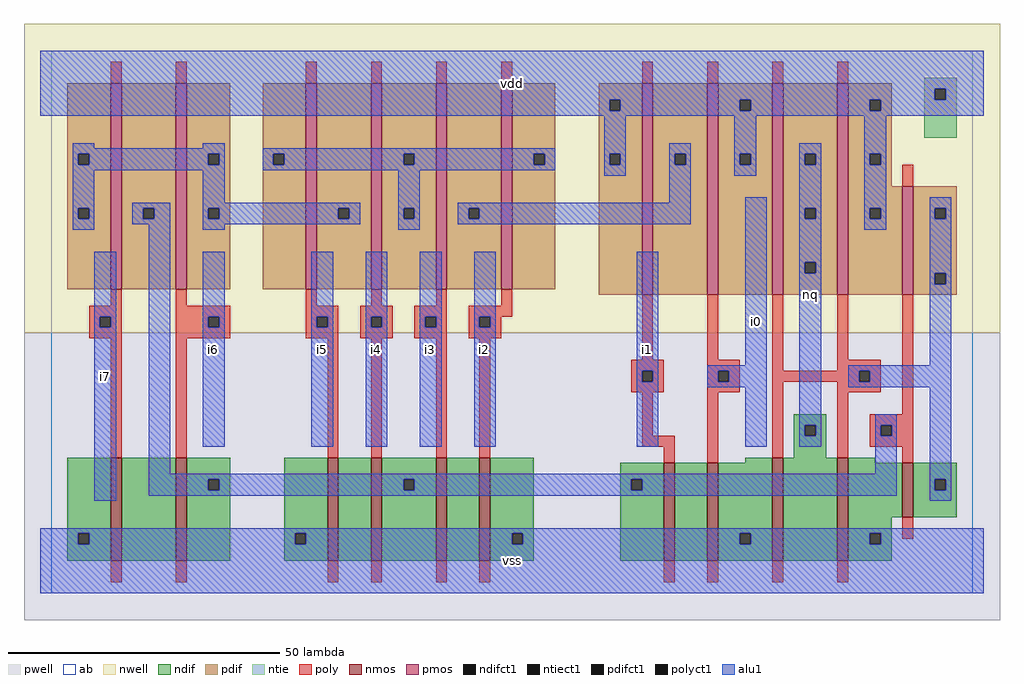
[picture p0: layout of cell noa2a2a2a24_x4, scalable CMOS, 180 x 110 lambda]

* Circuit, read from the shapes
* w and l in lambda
.subckt noa2a2a2a24_x4 i0 i1 i2 i3 i4 i5 i6 i7 nq vdd vss
M1 n1 i7 vss VSUBS nfet w=19 l=2
M2 n2 i6 n1 VSUBS nfet w=19 l=2
M3 n3 i5 vss VSUBS nfet w=19 l=2
M4 n2 i4 n3 VSUBS nfet w=19 l=2
M5 n4 i3 n2 VSUBS nfet w=19 l=2
M6 vss i2 n4 VSUBS nfet w=19 l=2
M7 n5 i1 n2 VSUBS nfet w=18 l=2
M8 vss i0 n5 VSUBS nfet w=18 l=2
M9 nq n6 vss VSUBS nfet w=19 l=2 m=2
M10 n6 n2 vss VSUBS nfet w=10 l=2
M11 n2 i7 n7 vdd pfet w=38 l=2
M12 n7 i6 n2 vdd pfet w=38 l=2
M13 n7 i5 n8 vdd pfet w=38 l=2
M14 n8 i4 n7 vdd pfet w=38 l=2
M15 n9 i3 n8 vdd pfet w=38 l=2
M16 n8 i2 n9 vdd pfet w=38 l=2
M17 n9 i1 vdd vdd pfet w=39 l=2
M18 vdd i0 n9 vdd pfet w=39 l=2
M19 nq n6 vdd vdd pfet w=39 l=2 m=2
M20 n6 n2 vdd vdd pfet w=20 l=2
.ends

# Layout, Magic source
magic
tech scmos
<< ab >>
rect 0 0 170 100
<< nwell >>
rect -5 48 175 105
<< pwell >>
rect -5 -5 175 48
<< poly >>
rect 11 94 13 98
rect 23 94 25 98
rect 47 94 49 98
rect 59 94 61 98
rect 71 94 73 98
rect 83 94 85 98
rect 109 94 111 98
rect 121 94 123 98
rect 133 94 135 98
rect 145 94 147 98
rect 11 53 13 56
rect 7 51 13 53
rect 7 49 9 51
rect 11 49 13 51
rect 7 47 13 49
rect 11 25 13 47
rect 23 53 25 56
rect 47 53 49 56
rect 59 53 61 56
rect 71 53 73 56
rect 83 53 85 56
rect 157 75 159 79
rect 23 51 33 53
rect 23 49 29 51
rect 31 49 33 51
rect 23 47 33 49
rect 47 51 53 53
rect 47 49 49 51
rect 51 49 53 51
rect 47 47 53 49
rect 57 51 63 53
rect 57 49 59 51
rect 61 49 63 51
rect 57 47 63 49
rect 67 51 73 53
rect 67 49 69 51
rect 71 49 73 51
rect 67 47 73 49
rect 77 51 85 53
rect 77 49 79 51
rect 81 49 83 51
rect 77 47 83 49
rect 23 25 25 47
rect 51 25 53 47
rect 59 25 61 47
rect 71 25 73 47
rect 79 25 81 47
rect 109 43 111 55
rect 121 43 123 55
rect 107 41 113 43
rect 107 39 109 41
rect 111 39 113 41
rect 107 37 113 39
rect 121 41 127 43
rect 121 39 123 41
rect 125 39 127 41
rect 121 37 127 39
rect 133 41 135 55
rect 145 43 147 55
rect 145 41 153 43
rect 133 39 149 41
rect 151 39 153 41
rect 109 29 111 37
rect 109 27 115 29
rect 113 24 115 27
rect 121 24 123 37
rect 133 25 135 39
rect 145 37 153 39
rect 145 25 147 37
rect 157 33 159 55
rect 151 31 159 33
rect 151 29 153 31
rect 155 29 159 31
rect 151 27 159 29
rect 157 24 159 27
rect 157 10 159 14
rect 11 2 13 6
rect 23 2 25 6
rect 51 2 53 6
rect 59 2 61 6
rect 71 2 73 6
rect 79 2 81 6
rect 113 2 115 6
rect 121 2 123 6
rect 133 2 135 6
rect 145 2 147 6
<< ndif >>
rect 3 11 11 25
rect 3 9 5 11
rect 7 9 11 11
rect 3 6 11 9
rect 13 6 23 25
rect 25 21 33 25
rect 25 19 29 21
rect 31 19 33 21
rect 25 6 33 19
rect 43 11 51 25
rect 43 9 45 11
rect 47 9 51 11
rect 43 6 51 9
rect 53 6 59 25
rect 61 21 71 25
rect 61 19 65 21
rect 67 19 71 21
rect 61 6 71 19
rect 73 6 79 25
rect 81 11 89 25
rect 137 31 143 33
rect 137 29 139 31
rect 141 29 143 31
rect 137 25 143 29
rect 128 24 133 25
rect 81 9 85 11
rect 87 9 89 11
rect 81 6 89 9
rect 105 21 113 24
rect 105 19 107 21
rect 109 19 113 21
rect 105 6 113 19
rect 115 6 121 24
rect 123 11 133 24
rect 123 9 127 11
rect 129 9 133 11
rect 123 6 133 9
rect 135 6 145 25
rect 147 24 152 25
rect 147 14 157 24
rect 159 21 167 24
rect 159 19 163 21
rect 165 19 167 21
rect 159 14 167 19
rect 147 11 155 14
rect 147 9 151 11
rect 153 9 155 11
rect 147 6 155 9
<< pdif >>
rect 3 81 11 94
rect 3 79 5 81
rect 7 79 11 81
rect 3 71 11 79
rect 3 69 5 71
rect 7 69 11 71
rect 3 56 11 69
rect 13 71 23 94
rect 13 69 17 71
rect 19 69 23 71
rect 13 56 23 69
rect 25 81 33 94
rect 25 79 29 81
rect 31 79 33 81
rect 25 71 33 79
rect 25 69 29 71
rect 31 69 33 71
rect 25 56 33 69
rect 39 81 47 94
rect 39 79 41 81
rect 43 79 47 81
rect 39 56 47 79
rect 49 71 59 94
rect 49 69 53 71
rect 55 69 59 71
rect 49 56 59 69
rect 61 81 71 94
rect 61 79 65 81
rect 67 79 71 81
rect 61 71 71 79
rect 61 69 65 71
rect 67 69 71 71
rect 61 56 71 69
rect 73 71 83 94
rect 73 69 77 71
rect 79 69 83 71
rect 73 56 83 69
rect 85 81 93 94
rect 85 79 89 81
rect 91 79 93 81
rect 85 56 93 79
rect 101 91 109 94
rect 101 89 103 91
rect 105 89 109 91
rect 101 81 109 89
rect 101 79 103 81
rect 105 79 109 81
rect 101 55 109 79
rect 111 81 121 94
rect 111 79 115 81
rect 117 79 121 81
rect 111 55 121 79
rect 123 91 133 94
rect 123 89 127 91
rect 129 89 133 91
rect 123 81 133 89
rect 123 79 127 81
rect 129 79 133 81
rect 123 55 133 79
rect 135 81 145 94
rect 135 79 139 81
rect 141 79 145 81
rect 135 71 145 79
rect 135 69 139 71
rect 141 69 145 71
rect 135 61 145 69
rect 135 59 139 61
rect 141 59 145 61
rect 135 55 145 59
rect 147 91 155 94
rect 147 89 151 91
rect 153 89 155 91
rect 147 81 155 89
rect 147 79 151 81
rect 153 79 155 81
rect 147 75 155 79
rect 147 71 157 75
rect 147 69 151 71
rect 153 69 157 71
rect 147 55 157 69
rect 159 71 167 75
rect 159 69 163 71
rect 165 69 167 71
rect 159 59 167 69
rect 159 57 163 59
rect 165 57 167 59
rect 159 55 167 57
<< alu1 >>
rect -2 93 172 100
rect -2 91 163 93
rect 165 91 172 93
rect -2 89 103 91
rect 105 89 127 91
rect 129 89 151 91
rect 153 89 172 91
rect -2 88 172 89
rect 4 82 8 83
rect 28 82 32 83
rect 4 81 32 82
rect 4 79 5 81
rect 7 79 29 81
rect 31 79 32 81
rect 4 78 32 79
rect 39 81 93 82
rect 39 79 41 81
rect 43 79 65 81
rect 67 79 89 81
rect 91 79 93 81
rect 39 78 93 79
rect 102 81 106 88
rect 102 79 103 81
rect 105 79 106 81
rect 4 71 8 78
rect 28 72 32 78
rect 4 69 5 71
rect 7 69 8 71
rect 4 67 8 69
rect 15 71 22 72
rect 15 69 17 71
rect 19 69 22 71
rect 15 68 22 69
rect 8 51 12 63
rect 8 49 9 51
rect 11 49 12 51
rect 8 17 12 49
rect 18 22 22 68
rect 28 71 57 72
rect 28 69 29 71
rect 31 69 53 71
rect 55 69 57 71
rect 28 68 57 69
rect 64 71 68 78
rect 102 77 106 79
rect 114 81 118 83
rect 114 79 115 81
rect 117 79 118 81
rect 114 72 118 79
rect 126 81 130 88
rect 126 79 127 81
rect 129 79 130 81
rect 126 77 130 79
rect 138 81 142 83
rect 138 79 139 81
rect 141 79 142 81
rect 64 69 65 71
rect 67 69 68 71
rect 28 67 32 68
rect 64 67 68 69
rect 75 71 118 72
rect 75 69 77 71
rect 79 69 118 71
rect 75 68 118 69
rect 28 51 32 63
rect 28 49 29 51
rect 31 49 32 51
rect 28 27 32 49
rect 48 51 52 63
rect 48 49 49 51
rect 51 49 52 51
rect 48 27 52 49
rect 58 51 62 63
rect 58 49 59 51
rect 61 49 62 51
rect 58 27 62 49
rect 68 51 72 63
rect 68 49 69 51
rect 71 49 72 51
rect 68 27 72 49
rect 78 51 82 63
rect 78 49 79 51
rect 81 49 82 51
rect 78 27 82 49
rect 108 41 112 63
rect 128 42 132 73
rect 108 39 109 41
rect 111 39 112 41
rect 108 27 112 39
rect 121 41 132 42
rect 121 39 123 41
rect 125 39 132 41
rect 121 38 132 39
rect 128 27 132 38
rect 138 71 142 79
rect 138 69 139 71
rect 141 69 142 71
rect 138 61 142 69
rect 150 81 154 88
rect 150 79 151 81
rect 153 79 154 81
rect 150 71 154 79
rect 150 69 151 71
rect 153 69 154 71
rect 150 67 154 69
rect 162 71 166 73
rect 162 69 163 71
rect 165 69 166 71
rect 138 59 139 61
rect 141 59 142 61
rect 138 31 142 59
rect 162 59 166 69
rect 162 57 163 59
rect 165 57 166 59
rect 162 42 166 57
rect 147 41 166 42
rect 147 39 149 41
rect 151 39 166 41
rect 147 38 166 39
rect 138 29 139 31
rect 141 29 142 31
rect 138 27 142 29
rect 152 31 156 33
rect 152 29 153 31
rect 155 29 156 31
rect 152 22 156 29
rect 18 21 156 22
rect 18 19 29 21
rect 31 19 65 21
rect 67 19 107 21
rect 109 19 156 21
rect 18 18 156 19
rect 162 21 166 38
rect 162 19 163 21
rect 165 19 166 21
rect 162 17 166 19
rect -2 11 172 12
rect -2 9 5 11
rect 7 9 45 11
rect 47 9 85 11
rect 87 9 127 11
rect 129 9 151 11
rect 153 9 172 11
rect -2 0 172 9
<< ntie >>
rect 161 93 167 95
rect 161 91 163 93
rect 165 91 167 93
rect 161 84 167 91
<< nmos >>
rect 11 6 13 25
rect 23 6 25 25
rect 51 6 53 25
rect 59 6 61 25
rect 71 6 73 25
rect 79 6 81 25
rect 113 6 115 24
rect 121 6 123 24
rect 133 6 135 25
rect 145 6 147 25
rect 157 14 159 24
<< pmos >>
rect 11 56 13 94
rect 23 56 25 94
rect 47 56 49 94
rect 59 56 61 94
rect 71 56 73 94
rect 83 56 85 94
rect 109 55 111 94
rect 121 55 123 94
rect 133 55 135 94
rect 145 55 147 94
rect 157 55 159 75
<< polyct1 >>
rect 9 49 11 51
rect 29 49 31 51
rect 49 49 51 51
rect 59 49 61 51
rect 69 49 71 51
rect 79 49 81 51
rect 109 39 111 41
rect 123 39 125 41
rect 149 39 151 41
rect 153 29 155 31
<< ndifct1 >>
rect 5 9 7 11
rect 29 19 31 21
rect 45 9 47 11
rect 65 19 67 21
rect 139 29 141 31
rect 85 9 87 11
rect 107 19 109 21
rect 127 9 129 11
rect 163 19 165 21
rect 151 9 153 11
<< ntiect1 >>
rect 163 91 165 93
<< pdifct1 >>
rect 5 79 7 81
rect 5 69 7 71
rect 17 69 19 71
rect 29 79 31 81
rect 29 69 31 71
rect 41 79 43 81
rect 53 69 55 71
rect 65 79 67 81
rect 65 69 67 71
rect 77 69 79 71
rect 89 79 91 81
rect 103 89 105 91
rect 103 79 105 81
rect 115 79 117 81
rect 127 89 129 91
rect 127 79 129 81
rect 139 79 141 81
rect 139 69 141 71
rect 139 59 141 61
rect 151 89 153 91
rect 151 79 153 81
rect 151 69 153 71
rect 163 69 165 71
rect 163 57 165 59
<< labels >>
rlabel alu1 30 45 30 45 6 i6
rlabel alu1 10 40 10 40 6 i7
rlabel alu1 80 45 80 45 6 i2
rlabel alu1 70 45 70 45 6 i3
rlabel alu1 60 45 60 45 6 i4
rlabel alu1 50 45 50 45 6 i5
rlabel alu1 85 6 85 6 6 vss
rlabel alu1 110 45 110 45 6 i1
rlabel alu1 85 94 85 94 6 vdd
rlabel alu1 130 50 130 50 6 i0
rlabel alu1 140 55 140 55 6 nq
<< end >>
